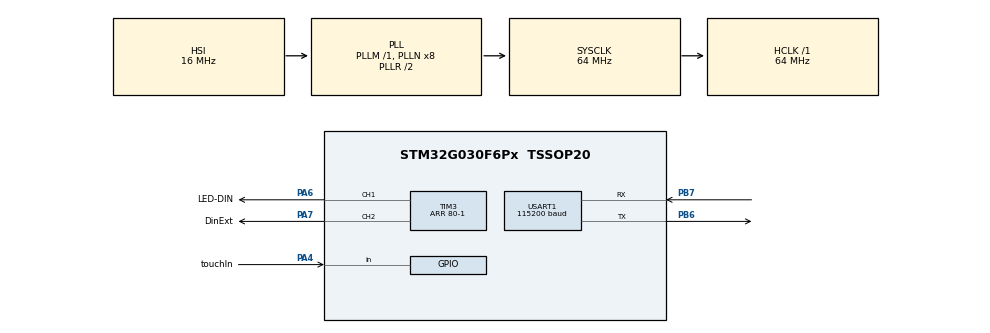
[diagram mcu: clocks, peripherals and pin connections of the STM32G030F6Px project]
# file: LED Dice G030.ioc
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Dma.Request0=TIM3_CH1
Dma.Request1=TIM3_CH2
Dma.TIM3_CH1.0.Direction=DMA_MEMORY_TO_PERIPH
Dma.TIM3_CH1.0.EventEnable=DISABLE
Dma.TIM3_CH1.0.Instance=DMA1_Channel1
Dma.TIM3_CH1.0.MemDataAlignment=DMA_MDATAALIGN_BYTE
Dma.TIM3_CH1.0.MemInc=DMA_MINC_ENABLE
Dma.TIM3_CH1.0.Mode=DMA_NORMAL
Dma.TIM3_CH1.0.PeriphDataAlignment=DMA_PDATAALIGN_HALFWORD
Dma.TIM3_CH1.0.PeriphInc=DMA_PINC_DISABLE
Dma.TIM3_CH1.0.Polarity=HAL_DMAMUX_REQ_GEN_RISING
Dma.TIM3_CH1.0.Priority=DMA_PRIORITY_LOW
Dma.TIM3_CH1.0.RequestNumber=1
Dma.TIM3_CH1.0.SignalID=NONE
Dma.TIM3_CH1.0.SyncEnable=DISABLE
Dma.TIM3_CH1.0.SyncPolarity=HAL_DMAMUX_SYNC_NO_EVENT
Dma.TIM3_CH1.0.SyncRequestNumber=1
Dma.TIM3_CH1.0.SyncSignalID=NONE
Dma.TIM3_CH2.1.Direction=DMA_MEMORY_TO_PERIPH
Dma.TIM3_CH2.1.EventEnable=DISABLE
Dma.TIM3_CH2.1.Instance=DMA1_Channel2
Dma.TIM3_CH2.1.MemDataAlignment=DMA_MDATAALIGN_BYTE
Dma.TIM3_CH2.1.MemInc=DMA_MINC_ENABLE
Dma.TIM3_CH2.1.Mode=DMA_NORMAL
Dma.TIM3_CH2.1.PeriphDataAlignment=DMA_PDATAALIGN_HALFWORD
Dma.TIM3_CH2.1.PeriphInc=DMA_PINC_DISABLE
Dma.TIM3_CH2.1.Polarity=HAL_DMAMUX_REQ_GEN_RISING
Dma.TIM3_CH2.1.Priority=DMA_PRIORITY_LOW
Dma.TIM3_CH2.1.RequestNumber=1
Dma.TIM3_CH2.1.SignalID=NONE
Dma.TIM3_CH2.1.SyncEnable=DISABLE
Dma.TIM3_CH2.1.SyncPolarity=HAL_DMAMUX_SYNC_NO_EVENT
Dma.TIM3_CH2.1.SyncRequestNumber=1
Dma.TIM3_CH2.1.SyncSignalID=NONE
Mcu.Family=STM32G0
Mcu.Name=STM32G030F6Px
Mcu.Package=TSSOP20
NVIC.DMA1_Channel1_IRQn=true\:0\:0\:false\:false\:true\:false\:true\:true
NVIC.DMA1_Channel2_3_IRQn=true\:0\:0\:false\:false\:true\:false\:true\:true
PA13.Mode=Serial_Wire
PA13.Signal=SYS_SWDIO
PA14-BOOT0.Mode=Serial_Wire
PA14-BOOT0.Signal=SYS_SWCLK
PA14-BOOT0__PA15.StandardMode=true
PA4.GPIO_Label=touchIn
PA4.Signal=GPIO_Input
PA6.GPIO_Label=LED-DIN
PA6.Signal=S_TIM3_CH1
PA7.GPIO_Label=DinExt
PA7.Signal=S_TIM3_CH2
PB0__PB1__PB2__PA8.StandardMode=true
PB3__PB4__PB5__PB6.StandardMode=true
PB6.Mode=Asynchronous
PB6.Signal=USART1_TX
PB7.Mode=Asynchronous
PB7.Signal=USART1_RX
PB7__PB8.StandardMode=true
PC14-OSC32_IN\ (PC14)__PB9.StandardMode=true
ProjectManager.HeapSize=0x200
ProjectManager.StackSize=0x400
ProjectManager.TargetToolchain=STM32CubeIDE
RCC.ADCFreq_Value=64000000
RCC.AHBFreq_Value=64000000
RCC.CortexFreq_Value=64000000
RCC.EXTERNAL_CLOCK_VALUE=12288000
RCC.HCLKFreq_Value=64000000
RCC.HSE_VALUE=8000000
RCC.HSI_VALUE=16000000
RCC.LSE_VALUE=32768
RCC.SYSCLKFreq_VALUE=64000000
RCC.SYSCLKSource=RCC_SYSCLKSOURCE_PLLCLK
RCC.VCOOutputFreq_Value=128000000
SH.S_TIM3_CH1.0=TIM3_CH1,PWM Generation1 CH1
SH.S_TIM3_CH2.0=TIM3_CH2,PWM Generation2 CH2
TIM3.Channel-PWM\ Generation1\ CH1=TIM_CHANNEL_1
TIM3.Channel-PWM\ Generation2\ CH2=TIM_CHANNEL_2
TIM3.Period=80-1
TIM3.Pulse-PWM\ Generation1\ CH1=0
TIM3.Pulse-PWM\ Generation2\ CH2=20
USART1.BaudRate=115200
USART1.VirtualMode-Asynchronous=VM_ASYNC
VP_TIM3_VS_ClockSourceINT.Mode=Internal
board=custom

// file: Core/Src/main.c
/* USER CODE BEGIN Header */
/**
  ******************************************************************************
  * @file           : main.c
  * @brief          : Main program body
  ******************************************************************************
  * @attention
  *
  * Copyright (c) 2025 STMicroelectronics.
  * All rights reserved.
  *
  * This software is licensed under terms that can be found in the LICENSE file
  * in the root directory of this software component.
  * If no LICENSE file comes with this software, it is provided AS-IS.
  *
  ******************************************************************************
  */
/* USER CODE END Header */
#include "main.h"

/* USER CODE BEGIN PM */

// Onbaord WS2812C
// total time for 800 kHz: 1.25 us = 80 cycles
#define T0H 	19			// 0.30 us
#define T0L 	61			// 0.95 us
#define T1H 	41			// 0.65 us
#define T1L 	39			// 0.60 us
#define nLED	14			// number of LEDs
#define arrSiz  nLED*8*3+2	// size of LED data array
#define maxColor 150

// External LED strip WS2812B
// total time for 800 kHz: 1.25 us = 80 cycles
#define T0HExt 			29				// 0.45 us
#define T0LExt 			51				// 0.8 us
#define T1HExt 			51				// 0.8 us
#define T1LExt 			29				// 0.45 us
#define nLEDExt			10				// number of LEDs
#define arrSizExt  		nLEDExt*8*3+2	// size of LED data array
#define maxColorExt 	150

/* USER CODE END PM */

TIM_HandleTypeDef htim3;
DMA_HandleTypeDef hdma_tim3_ch1;
DMA_HandleTypeDef hdma_tim3_ch2;

UART_HandleTypeDef huart1;

/* USER CODE BEGIN PV */

uint16_t i=0;
uint8_t j=0;
uint16_t currData=0;
uint8_t UART1_rxBuffer[12] = {65, 66, 67, 68, 69, 70, 71, 72, 73, 74, '\n', '\r'};
//uint16_t LED_Data[50] = {0, T0H, T0H, T1H, T0H, T0H, T0H, T0H, T0H,
//							T0H, T0H, T0H, T0H, T0H, T0H, T0H, T0H,
//							T0H, T0H, T0H, T0H, T0H, T0H, T0H, T0H,
//							T0H, T0H, T1H, T0H, T0H, T0H, T0H, T0H,
//							T0H, T1H, T0H, T0H, T0H, T0H, T0H, T0H,
//							T0H, T0H, T0H, T0H, T0H, T0H, T0H, T0H,
//						0};

uint8_t LED_Data[arrSiz] = {0};
uint8_t LED_DataExt[arrSizExt] = {0};

uint8_t colorStep= 5;
uint8_t redColor = maxColor;
uint8_t greColor = 0;
uint8_t bluColor = 0;
uint32_t colorCounter = 0;
uint8_t currentNum = 1;

/* USER CODE END PV */

void SystemClock_Config(void);
static void MX_GPIO_Init(void);
static void MX_DMA_Init(void);
static void MX_USART1_UART_Init(void);
static void MX_TIM3_Init(void);
/* USER CODE BEGIN PFP */

GPIO_PinState touchDetect(void);
void setLEDData(uint8_t, uint8_t, uint8_t);
void setAllLED(uint8_t, uint8_t, uint8_t);
void colorIncrement(void);

void setLEDDataExt(uint8_t, uint8_t, uint8_t);
void setAllLEDExt(uint8_t, uint8_t, uint8_t);

/* USER CODE END PFP */

int main(void)
{

  /* MCU Configuration--------------------------------------------------------*/

  /* Reset of all peripherals, Initializes the Flash interface and the Systick. */
  HAL_Init();

  /* Configure the system clock */
  SystemClock_Config();

  /* Initialize all configured peripherals */
  MX_GPIO_Init();
  MX_DMA_Init();
  MX_USART1_UART_Init();
  MX_TIM3_Init();
  /* USER CODE BEGIN 2 */

//  HAL_TIM_PWM_Start(&htim3, TIM_CHANNEL_1);
//  HAL_TIM_PWM_Start(&htim3, TIM_CHANNEL_2);
//  HAL_TIM_PWM_Start_DMA(&htim3, TIM_CHANNEL_2, (uint32_t *)LED_DataExt, arrSizExt);

  /* USER CODE END 2 */

  /* Infinite loop */
  /* USER CODE BEGIN WHILE */
  while (1)
  {
	  HAL_Delay(10);
//	  HAL_UART_Transmit(&huart1, UART1_rxBuffer, 12, 100);

//	  HAL_TIM_PWM_Start_DMA(&htim3, TIM_CHANNEL_2, (uint32_t *)LED_DataExt, arrSizExt);

	  if (touchDetect())
	  {
		  HAL_UART_Transmit(&huart1, (uint8_t *) "Touch\n", 6, 100);
		  colorIncrement();
	  }
	  else
	  {
		  HAL_UART_Transmit(&huart1, (uint8_t *) "No Touch\n", 9, 100);

	  }

	  setAllLED(redColor, greColor, bluColor);

    /* USER CODE END WHILE */

  }
}

void SystemClock_Config(void)
{
  RCC_OscInitTypeDef RCC_OscInitStruct = {0};
  RCC_ClkInitTypeDef RCC_ClkInitStruct = {0};

  /** Configure the main internal regulator output voltage
  */
  HAL_PWREx_ControlVoltageScaling(PWR_REGULATOR_VOLTAGE_SCALE1);

  /** Initializes the RCC Oscillators according to the specified parameters
  * in the RCC_OscInitTypeDef structure.
  */
  RCC_OscInitStruct.OscillatorType = RCC_OSCILLATORTYPE_HSI;
  RCC_OscInitStruct.HSIState = RCC_HSI_ON;
  RCC_OscInitStruct.HSIDiv = RCC_HSI_DIV1;
  RCC_OscInitStruct.HSICalibrationValue = RCC_HSICALIBRATION_DEFAULT;
  RCC_OscInitStruct.PLL.PLLState = RCC_PLL_ON;
  RCC_OscInitStruct.PLL.PLLSource = RCC_PLLSOURCE_HSI;
  RCC_OscInitStruct.PLL.PLLM = RCC_PLLM_DIV1;
  RCC_OscInitStruct.PLL.PLLN = 8;
  RCC_OscInitStruct.PLL.PLLP = RCC_PLLP_DIV2;
  RCC_OscInitStruct.PLL.PLLR = RCC_PLLR_DIV2;
  if (HAL_RCC_OscConfig(&RCC_OscInitStruct) != HAL_OK)
  {
    Error_Handler();
  }

  /** Initializes the CPU, AHB and APB buses clocks
  */
  RCC_ClkInitStruct.ClockType = RCC_CLOCKTYPE_HCLK|RCC_CLOCKTYPE_SYSCLK
                              |RCC_CLOCKTYPE_PCLK1;
  RCC_ClkInitStruct.SYSCLKSource = RCC_SYSCLKSOURCE_PLLCLK;
  RCC_ClkInitStruct.AHBCLKDivider = RCC_SYSCLK_DIV1;
  RCC_ClkInitStruct.APB1CLKDivider = RCC_HCLK_DIV1;

  if (HAL_RCC_ClockConfig(&RCC_ClkInitStruct, FLASH_LATENCY_2) != HAL_OK)
  {
    Error_Handler();
  }
}

static void MX_TIM3_Init(void)
{

  TIM_ClockConfigTypeDef sClockSourceConfig = {0};
  TIM_MasterConfigTypeDef sMasterConfig = {0};
  TIM_OC_InitTypeDef sConfigOC = {0};

  htim3.Instance = TIM3;
  htim3.Init.Prescaler = 0;
  htim3.Init.CounterMode = TIM_COUNTERMODE_UP;
  htim3.Init.Period = 80-1;
  htim3.Init.ClockDivision = TIM_CLOCKDIVISION_DIV1;
  htim3.Init.AutoReloadPreload = TIM_AUTORELOAD_PRELOAD_DISABLE;
  if (HAL_TIM_Base_Init(&htim3) != HAL_OK)
  {
    Error_Handler();
  }
  sClockSourceConfig.ClockSource = TIM_CLOCKSOURCE_INTERNAL;
  if (HAL_TIM_ConfigClockSource(&htim3, &sClockSourceConfig) != HAL_OK)
  {
    Error_Handler();
  }
  if (HAL_TIM_PWM_Init(&htim3) != HAL_OK)
  {
    Error_Handler();
  }
  sMasterConfig.MasterOutputTrigger = TIM_TRGO_RESET;
  sMasterConfig.MasterSlaveMode = TIM_MASTERSLAVEMODE_DISABLE;
  if (HAL_TIMEx_MasterConfigSynchronization(&htim3, &sMasterConfig) != HAL_OK)
  {
    Error_Handler();
  }
  sConfigOC.OCMode = TIM_OCMODE_PWM1;
  sConfigOC.Pulse = 0;
  sConfigOC.OCPolarity = TIM_OCPOLARITY_HIGH;
  sConfigOC.OCFastMode = TIM_OCFAST_DISABLE;
  if (HAL_TIM_PWM_ConfigChannel(&htim3, &sConfigOC, TIM_CHANNEL_1) != HAL_OK)
  {
    Error_Handler();
  }
  sConfigOC.Pulse = 20;
  if (HAL_TIM_PWM_ConfigChannel(&htim3, &sConfigOC, TIM_CHANNEL_2) != HAL_OK)
  {
    Error_Handler();
  }
  HAL_TIM_MspPostInit(&htim3);

}

static void MX_USART1_UART_Init(void)
{

  huart1.Instance = USART1;
  huart1.Init.BaudRate = 115200;
  huart1.Init.WordLength = UART_WORDLENGTH_8B;
  huart1.Init.StopBits = UART_STOPBITS_1;
  huart1.Init.Parity = UART_PARITY_NONE;
  huart1.Init.Mode = UART_MODE_TX_RX;
  huart1.Init.HwFlowCtl = UART_HWCONTROL_NONE;
  huart1.Init.OverSampling = UART_OVERSAMPLING_16;
  huart1.Init.OneBitSampling = UART_ONE_BIT_SAMPLE_DISABLE;
  huart1.Init.ClockPrescaler = UART_PRESCALER_DIV1;
  huart1.AdvancedInit.AdvFeatureInit = UART_ADVFEATURE_NO_INIT;
  if (HAL_UART_Init(&huart1) != HAL_OK)
  {
    Error_Handler();
  }
  if (HAL_UARTEx_SetTxFifoThreshold(&huart1, UART_TXFIFO_THRESHOLD_1_8) != HAL_OK)
  {
    Error_Handler();
  }
  if (HAL_UARTEx_SetRxFifoThreshold(&huart1, UART_RXFIFO_THRESHOLD_1_8) != HAL_OK)
  {
    Error_Handler();
  }
  if (HAL_UARTEx_DisableFifoMode(&huart1) != HAL_OK)
  {
    Error_Handler();
  }

}

static void MX_DMA_Init(void)
{

  /* DMA controller clock enable */
  __HAL_RCC_DMA1_CLK_ENABLE();

  /* DMA interrupt init */
  /* DMA1_Channel1_IRQn interrupt configuration */
  HAL_NVIC_SetPriority(DMA1_Channel1_IRQn, 0, 0);
  HAL_NVIC_EnableIRQ(DMA1_Channel1_IRQn);
  /* DMA1_Channel2_3_IRQn interrupt configuration */
  HAL_NVIC_SetPriority(DMA1_Channel2_3_IRQn, 0, 0);
  HAL_NVIC_EnableIRQ(DMA1_Channel2_3_IRQn);

}

static void MX_GPIO_Init(void)
{
  GPIO_InitTypeDef GPIO_InitStruct = {0};

  /* GPIO Ports Clock Enable */
  __HAL_RCC_GPIOB_CLK_ENABLE();
  __HAL_RCC_GPIOA_CLK_ENABLE();

  /*Configure GPIO pin : touchIn_Pin */
  GPIO_InitStruct.Pin = touchIn_Pin;
  GPIO_InitStruct.Mode = GPIO_MODE_INPUT;
  GPIO_InitStruct.Pull = GPIO_NOPULL;
  HAL_GPIO_Init(touchIn_GPIO_Port, &GPIO_InitStruct);

}

/* USER CODE BEGIN 4 */

GPIO_PinState touchDetect(void)
{
	return HAL_GPIO_ReadPin(touchIn_GPIO_Port, touchIn_Pin);
}

void HAL_TIM_PWM_PulseFinishedCallback(TIM_HandleTypeDef *htim)
{

//	HAL_TIM_PWM_Stop_DMA(htim, TIM_CHANNEL_1);

}

void setLEDData(uint8_t redVal, uint8_t greVal, uint8_t bluVal)
{
	for(i=0;i<nLED;i++)
	{
		for(j=0;j<8;j++)
		{
			currData = 1 + 3*8*i+8+j;
			if(redVal & (1<<(8-j)))
			{
				LED_Data[currData] = T1H;
			}
			else
			{
				LED_Data[currData] = T0H;
			}
		}

		for(j=0;j<8;j++)
		{
			currData = 1 + 3*8*i+0+j;
			if(greVal & (1<<(8-j)))
			{
				LED_Data[currData] = T1H;
			}
			else
			{
				LED_Data[currData] = T0H;
			}
		}

		for(j=0;j<8;j++)
		{
			currData = 1 + 3*8*i+16+j;
			if(bluVal & (1<<(8-j)))
			{
				LED_Data[currData] = T1H;
			}
			else
			{
				LED_Data[currData] = T0H;
			}
		}
	}

}

void setLEDDataExt(uint8_t redVal, uint8_t greVal, uint8_t bluVal)
{
	for(i=0;i<nLEDExt;i++)
	{
		for(j=0;j<8;j++)
		{
			currData = 1 + 3*8*i+8+j;
			if(redVal & (1<<(8-j)))
			{
				LED_DataExt[currData] = T1HExt;
			}
			else
			{
				LED_DataExt[currData] = T0HExt;
			}
		}

		for(j=0;j<8;j++)
		{
			currData = 1 + 3*8*i+0+j;
			if(greVal & (1<<(8-j)))
			{
				LED_DataExt[currData] = T1HExt;
			}
			else
			{
				LED_DataExt[currData] = T0HExt;
			}
		}

		for(j=0;j<8;j++)
		{
			currData = 1 + 3*8*i+16+j;
			if(bluVal & (1<<(8-j)))
			{
				LED_DataExt[currData] = T1HExt;
			}
			else
			{
				LED_DataExt[currData] = T0HExt;
			}
		}
	}

}

void setAllLED(uint8_t redVal, uint8_t greVal, uint8_t bluVal)
{
	setLEDData(redVal, greVal, bluVal);
	setLEDDataExt(redVal, greVal, bluVal);
	HAL_TIM_PWM_Start_DMA(&htim3, TIM_CHANNEL_1, (uint32_t *)LED_Data, arrSiz);
	HAL_TIM_PWM_Start_DMA(&htim3, TIM_CHANNEL_2, (uint32_t *)LED_DataExt, arrSizExt);
}

void colorIncrement(void)
{
	if((colorCounter > 0) && (colorCounter < maxColor))
	{
		redColor--;
		greColor++;
		bluColor = 0;
	}

	if((colorCounter > maxColor) && (colorCounter < 2*maxColor))
	{
		redColor = 0;
		greColor--;
		bluColor++;
	}

	if((colorCounter > 2*maxColor) && (colorCounter < 3*maxColor))
	{
		redColor++;
		greColor = 0;
		bluColor--;
	}

	colorCounter++;

	if(colorCounter > 3*maxColor)
	{
		colorCounter = 0;
	}

//	if(redColor < maxColor)
//	{
//		redColor++;
//	}
//	else if(greColor < maxColor)
//	{
//		greColor++;
//	}
//	else if(bluColor < maxColor)
//	{
//		bluColor++;
//	}
//	else
//	{
//		redColor = 0;
//		greColor = 0;
//		bluColor = 0;
//	}

}

/* USER CODE END 4 */

void Error_Handler(void)
{
  __disable_irq();
  while (1)
  {
  }
}
